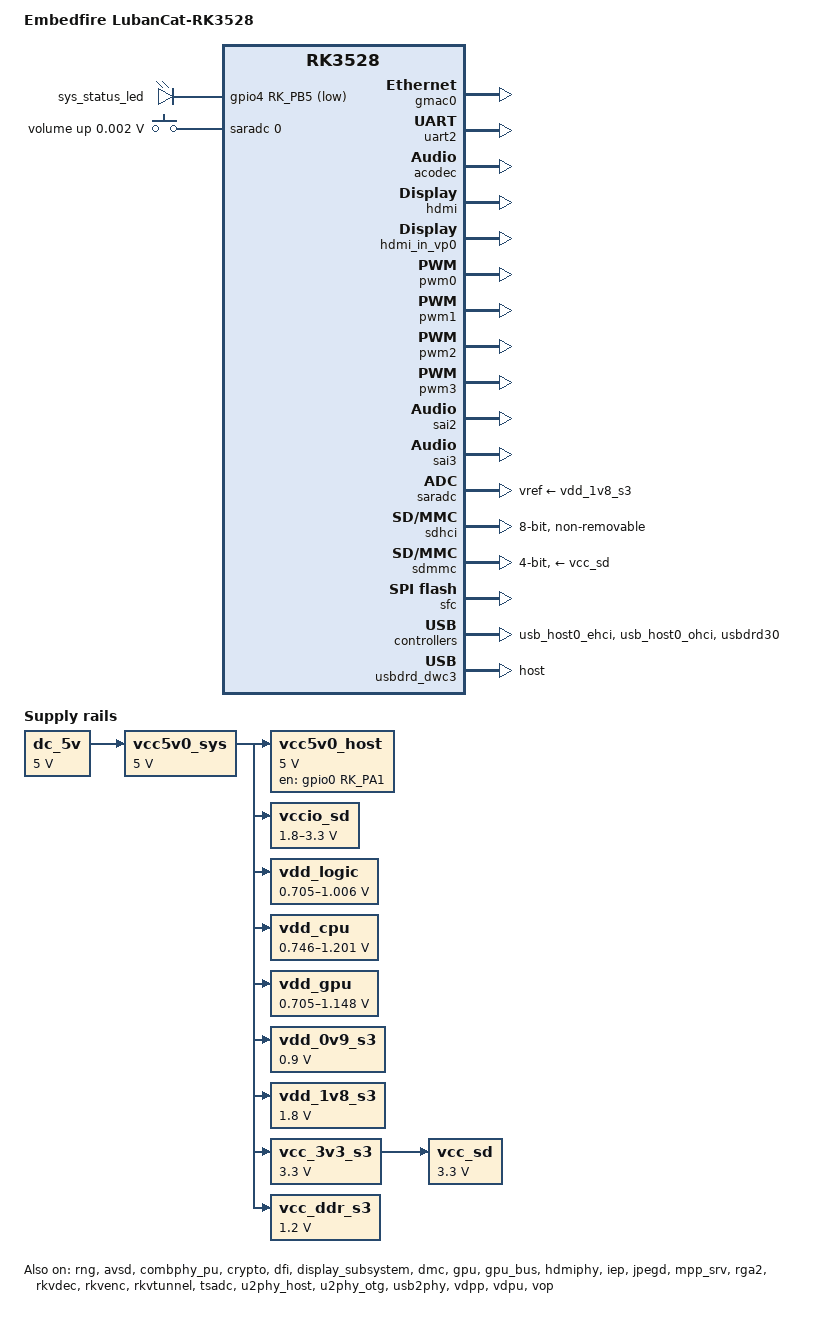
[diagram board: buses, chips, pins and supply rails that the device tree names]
// SPDX-License-Identifier: (GPL-2.0+ OR MIT)
/*
 * Copyright (c) 2022 Rockchip Electronics Co., Ltd.
 *
 */
/dts-v1/;

#include "rk3528.dtsi"
#include <dt-bindings/gpio/gpio.h>
#include <dt-bindings/input/rk-input.h>
#include <dt-bindings/pinctrl/rockchip.h>
#include "rk3528-linux.dtsi"

/ {

	model = "Embedfire LubanCat-RK3528";
	compatible = "rockchip,rk3528-lubancat", "rockchip,rk3528";

	chosen: chosen {
		bootargs = "earlycon=uart8250,mmio32,0xff9f0000 console=ttyFIQ0 root=PARTUUID=614e0000-0000 rw rootwait";
	};

	leds: leds {
		status = "okay";
		compatible = "gpio-leds";

		sys_status_led: sys-status-led {
			label = "sys_status_led";
			linux,default-trigger = "heartbeat";
			default-state = "on";
			gpios = <&gpio4 RK_PB5 GPIO_ACTIVE_LOW>;
			pinctrl-names = "default";
			pinctrl-0 = <&sys_status_led_pin>;
		};

	};

	acodec_sound: acodec-sound {
		status = "okay";
		compatible = "simple-audio-card";
		simple-audio-card,name = "rk3528-acodec";
		simple-audio-card,format = "i2s";
		simple-audio-card,mclk-fs = <256>;
		simple-audio-card,cpu {
			sound-dai = <&sai2>;
		};
		simple-audio-card,codec {
			sound-dai = <&acodec>;
		};
	};

	adc_keys: adc-keys {
		status = "okay";
		compatible = "adc-keys";
		io-channels = <&saradc 0>;
		io-channel-names = "buttons";
		keyup-threshold-microvolt = <1800000>;
		poll-interval = <100>;

		vol-up-key {
			label = "volume up";
			linux,code = <KEY_VOLUMEUP>;
			press-threshold-microvolt = <1750>;
		};
	};

	dc_5v: dc-5v {
		compatible = "regulator-fixed";
		regulator-name = "dc_5v";
		regulator-always-on;
		regulator-boot-on;
		regulator-min-microvolt = <5000000>;
		regulator-max-microvolt = <5000000>;
	};

	hdmi_sound: hdmi-sound {
		compatible = "rockchip,hdmi";
		rockchip,mclk-fs = <128>;
		rockchip,card-name = "rockchip,hdmi";
		rockchip,cpu = <&sai3>;
		rockchip,codec = <&hdmi>;
		rockchip,jack-det;
	};

	pdmics: dummy-codec {
		status = "disabled";
		compatible = "rockchip,dummy-codec";
		#sound-dai-cells = <0>;
	};

	pdm_mic_array: pdm-mic-array {
		status = "disabled";
		compatible = "simple-audio-card";
		simple-audio-card,name = "rockchip,pdm-mic-array";
		simple-audio-card,cpu {
			sound-dai = <&pdm>;
		};
		simple-audio-card,codec {
			sound-dai = <&pdmics>;
		};
	};

	vcc5v0_sys: vcc5v0-sys {
		compatible = "regulator-fixed";
		regulator-name = "vcc5v0_sys";
		regulator-always-on;
		regulator-boot-on;
		regulator-min-microvolt = <5000000>;
		regulator-max-microvolt = <5000000>;
		vin-supply = <&dc_5v>;
	};

	vcc5v0_host: vcc5v0-host-regulator {
		compatible = "regulator-fixed";
		regulator-name = "vcc5v0_host";
		regulator-boot-on;
		regulator-always-on;
		regulator-min-microvolt = <5000000>;
		regulator-max-microvolt = <5000000>;
		enable-active-high;
		gpio = <&gpio0 RK_PA1 GPIO_ACTIVE_HIGH>;
		vin-supply = <&vcc5v0_sys>;
		pinctrl-names = "default";
		pinctrl-0 = <&vcc5v0_host_en>;
	};

	vccio_sd: vccio-sd {
		compatible = "regulator-gpio";
		regulator-name = "vccio_sd";
		regulator-min-microvolt = <1800000>;
		regulator-max-microvolt = <3300000>;
		gpios = <&gpio0 RK_PA0 GPIO_ACTIVE_LOW>;
		vin-supply = <&vcc5v0_sys>;
		states = <1800000 0x1 3300000 0x0>;
	};

	vdd_logic: vdd-logic {
		compatible = "pwm-regulator";
		pwms = <&pwm2 0 5000 1>;
		regulator-name = "vdd_logic";
		regulator-min-microvolt = <705000>;
		regulator-max-microvolt = <1006000>;
		regulator-init-microvolt = <900000>;
		regulator-always-on;
		regulator-boot-on;
		regulator-settling-time-up-us = <250>;
		pwm-supply = <&vcc5v0_sys>;
		status = "okay";
	};

	vdd_cpu: vdd-cpu {
		compatible = "pwm-regulator";
		pwms = <&pwm1 0 5000 1>;
		regulator-name = "vdd_cpu";
		regulator-min-microvolt = <746000>;
		regulator-max-microvolt = <1201000>;
		regulator-init-microvolt = <953000>;
		regulator-always-on;
		regulator-boot-on;
		regulator-settling-time-up-us = <250>;
		pwm-supply = <&vcc5v0_sys>;
		status = "okay";
	};

	vdd_gpu: vdd-gpu {
		compatible = "pwm-regulator";
		pwms = <&pwm0 0 5000 1>;
		regulator-name = "vdd_gpu";
		regulator-min-microvolt = <705000>;
		regulator-max-microvolt = <1148000>;
		regulator-init-microvolt = <900000>;
		regulator-always-on;
		regulator-boot-on;
		regulator-settling-time-up-us = <250>;
		pwm-supply = <&vcc5v0_sys>;
		status = "okay";
	};

	vdd_0v9_s3: vdd-0v9-s3 {
		compatible = "regulator-fixed";
		regulator-name = "vdd_0v9_s3";
		regulator-always-on;
		regulator-boot-on;
		regulator-min-microvolt = <900000>;
		regulator-max-microvolt = <900000>;
		vin-supply = <&vcc5v0_sys>;
	};

	vdd_1v8_s3: vdd-1v8-s3 {
		compatible = "regulator-fixed";
		regulator-name = "vdd_1v8_s3";
		regulator-always-on;
		regulator-boot-on;
		regulator-min-microvolt = <1800000>;
		regulator-max-microvolt = <1800000>;
		vin-supply = <&vcc5v0_sys>;
	};

	vcc_3v3_s3: vcc-3v3-s3 {
		compatible = "regulator-fixed";
		regulator-name = "vcc_3v3_s3";
		regulator-always-on;
		regulator-boot-on;
		regulator-min-microvolt = <3300000>;
		regulator-max-microvolt = <3300000>;
		vin-supply = <&vcc5v0_sys>;
	};

	vcc_sd: vcc-sd {
		compatible = "regulator-fixed";
		regulator-name = "vcc_sd";
		regulator-min-microvolt = <3300000>;
		regulator-max-microvolt = <3300000>;
		vin-supply = <&vcc_3v3_s3>;
	};

	vcc_ddr_s3: vcc-ddr-s3 {
		compatible = "regulator-fixed";
		regulator-name = "vcc_ddr_s3";
		regulator-always-on;
		regulator-boot-on;
		regulator-min-microvolt = <1200000>;
		regulator-max-microvolt = <1200000>;
		vin-supply = <&vcc5v0_sys>;
	};
};

&gmac0 {
	status = "okay";
};

&uart2 {
	status = "okay";
	pinctrl-names = "default";
	pinctrl-0 = <&uart2m1_xfer &uart2m1_ctsn>;
};

&rng {
	status = "okay";
};

&avsd {
	status = "okay";
};

&combphy_pu {
	status = "okay";
};

&cpu0 {
	cpu-supply = <&vdd_cpu>;
};

&crypto {
	status = "okay";
};

&dfi {
	status = "okay";
};

&display_subsystem {
	status = "okay";
};

&dmc {
	center-supply = <&vdd_logic>;
	status = "okay";
};

&acodec {
	status = "okay";
};

&gpu {
	mali-supply = <&vdd_gpu>;
	status = "okay";
};

&gpu_bus {
	bus-supply = <&vdd_logic>;
	status = "okay";
};

&hdmi {
	status = "okay";
};

&hdmi_in_vp0 {
	status = "okay";
};

&hdmiphy {
	status = "okay";
};

&iep {
	status = "okay";
};

&iep_mmu {
	status = "okay";
};

&jpegd {
	status = "okay";
};

&jpegd_mmu {
	status = "okay";
};

&mpp_srv {
	status = "okay";
};

&pwm0 {
	status = "okay";
};

&pwm1 {
	status = "okay";
};

&pwm2 {
	status = "okay";
};

&pwm3 {
	compatible = "rockchip,remotectl-pwm";
	pinctrl-names = "default";
	pinctrl-0 = <&pwm3m0_pins>;
	remote_pwm_id = <3>;
	handle_cpu_id = <1>;
	remote_support_psci = <0>;
	status = "okay";

	ir_key1 {
		rockchip,usercode = <0x4040>;
		rockchip,key_table =
			<0xf2	KEY_REPLY>;
	};
};

&rga2 {
	status = "okay";
};

&rga2_mmu {
	status = "okay";
};

&rkvdec {
	status = "okay";
};

&rkvdec_mmu {
	status = "okay";
};

&rkvenc {
	status = "okay";
};

&rkvenc_mmu {
	status = "okay";
};

&rkvtunnel {
	status = "okay";
};

&rockchip_suspend {
	status = "okay";
	rockchip,sleep-debug-en = <1>;
	rockchip,virtual-poweroff = <1>;
	rockchip,sleep-mode-config = <
		(0
		| RKPM_SLP_ARMPD
		)
	>;
	rockchip,wakeup-config = <
		(0
		| RKPM_CPU0_WKUP_EN
		| RKPM_GPIO_WKUP_EN
		)
	>;
	rockchip,pwm-regulator-config = <
		(0
		| RKPM_PWM0_M0_REGULATOR_EN
		| RKPM_PWM1_M0_REGULATOR_EN
		)
	>;
};

&sai0 {
	pinctrl-0 = <&i2s0m1_lrck &i2s0m1_sclk &i2s0m1_sdi &i2s0m1_sdo>;
	status = "disabled";
};

&sai2 {
	status = "okay";
};

&sai3 {
	status = "okay";
};

&saradc {
	status = "okay";
	vref-supply = <&vdd_1v8_s3>;
};

&sdhci {
	bus-width = <8>;
	no-sd;
	no-sdio;
	non-removable;
	mmc-hs400-1_8v;
	mmc-hs400-enhanced-strobe;
	max-frequency = <200000000>;
	status = "okay";
};

&sdmmc {
	bus-width = <4>;
	cap-mmc-highspeed;
	cap-sd-highspeed;
	disable-wp;
	max-frequency = <150000000>;
	pinctrl-names = "default";
	pinctrl-0 = <&sdmmc_clk &sdmmc_cmd &sdmmc_det &sdmmc_bus4>;
	supports-sd;
	sd-uhs-sdr12;
	sd-uhs-sdr25;
	sd-uhs-sdr50;
	sd-uhs-sdr104;
	vqmmc-supply = <&vccio_sd>;
	vmmc-supply = <&vcc_sd>;
	status = "okay";
};

&sfc {
	status = "okay";
};

&tsadc {
	status = "okay";
};

&u2phy_host {
	phy-supply = <&vcc5v0_host>;
	status = "okay";
};

&u2phy_otg {
	status = "okay";
};

&usb2phy {
	status = "okay";
};

&usb_host0_ehci {
	status = "okay";
};

&usb_host0_ohci {
	status = "okay";
};

&usbdrd30 {
	status = "okay";
};

&usbdrd_dwc3 {
	dr_mode = "host";
	extcon = <&usb2phy>;
	status = "okay";
};

&vdpp {
	status = "okay";
};

&vdpu {
	status = "okay";
};

&vdpu_mmu {
	status = "okay";
};

&vop {
	status = "okay";
};

&vop_mmu {
	status = "okay";
};

&pcie2x1 {
	status = "disabled";
};

&pinctrl {
	usb {
		vcc5v0_host_en: vcc5v0-host-en {
			rockchip,pins = <0 RK_PA1 RK_FUNC_GPIO &pcfg_pull_none>;
		};
	};

	leds {
		sys_status_led_pin: sys-status-led-pin {
			rockchip,pins = <4 RK_PB5 RK_FUNC_GPIO &pcfg_pull_none>;
		};
	};
};
